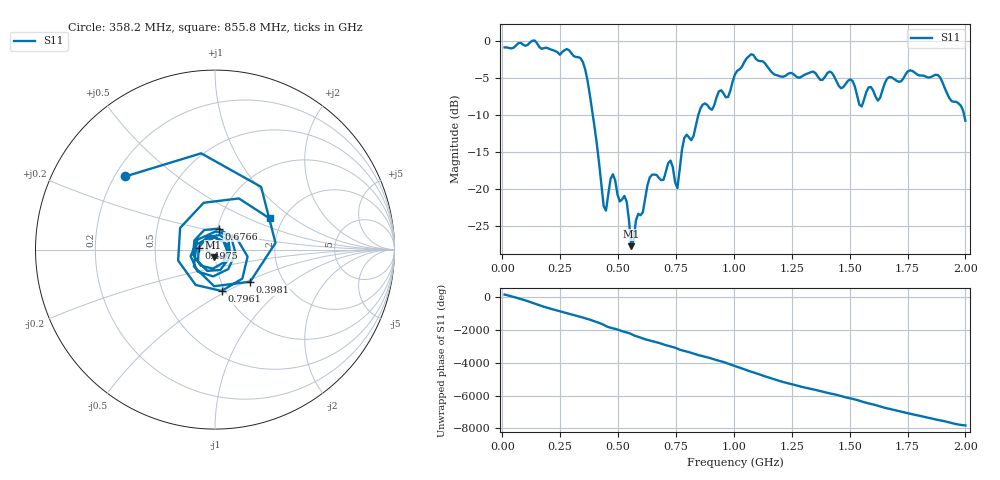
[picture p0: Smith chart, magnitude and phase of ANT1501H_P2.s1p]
!Created with skrf (http://scikit-rf.org).
# Hz S RI R 50.0
!freq ReS11 ImS11
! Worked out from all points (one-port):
!   201 points, 10 MHz to 2 GHz, reference 50 ohm
!   lowest |S11| = -27.7 dB at 557.2 MHz (marker M1), VSWR 1.09, Z = 49.1 - j3.97 ohm
!   |S11| at or under -10 dB: 390.9 MHz to 846.3 MHz (455.4 MHz wide, 73.6 % of centre); 1.994669 GHz to end of sweep
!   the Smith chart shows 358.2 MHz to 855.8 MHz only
!   S11 on the Smith chart (normalised r, x): 358.2 MHz: 0.24, +0.34; 398.1 MHz: 1.37, -0.53; 497.6 MHz: 0.83, +0.02; 676.6 MHz: 1.01, +0.24; 796 MHz: 0.96, -0.47; 855.8 MHz: 1.71, +0.68
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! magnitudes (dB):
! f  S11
! 10 MHz  -0.8
! 258.8 MHz  -1.4
! 358.2 MHz  -3.8
! 398.1 MHz  -11.5
! 437.9 MHz  -22.3
! 477.6 MHz  -18.0
! 497.6 MHz  -20.7
! 507.5 MHz  -21.7
! 537.4 MHz  -21.7
! 557.2 MHz  -27.7
! 636.9 MHz  -18.4
! 676.6 MHz  -18.5
! 726.4 MHz  -16.1
! 756.2 MHz  -19.9
! 796 MHz  -12.6
! 825.9 MHz  -12.8
! 855.8 MHz  -9.1
! 975.1 MHz  -7.5
! 1.005 GHz  -4.5
! 1.075 GHz  -1.7
! 1.254 GHz  -4.4
! 1.502 GHz  -5.2
! 1.552 GHz  -8.8
! 1.582 GHz  -6.2
! 1.622 GHz  -8.0
! 1.751 GHz  -4.1
! 1.881 GHz  -4.5
! 2 GHz  -10.7
